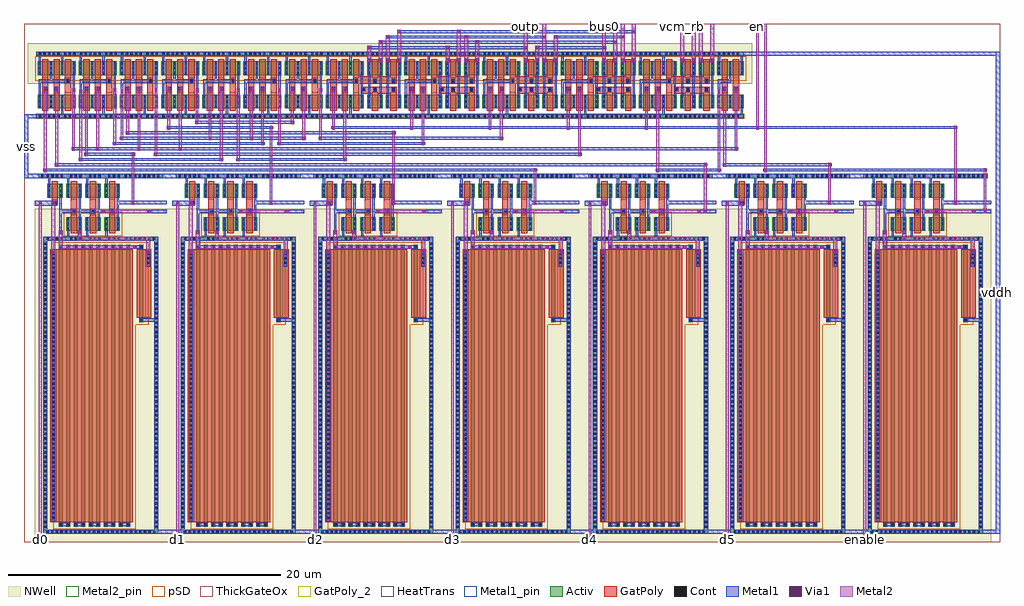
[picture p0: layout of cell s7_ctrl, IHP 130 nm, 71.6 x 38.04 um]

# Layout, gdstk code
from math import pi, radians
import gdstk
lib = gdstk.Library(unit=1e-6, precision=1e-09)
def R(c, l, rs):  # rectangles x0, y0, x1, y1
    for r in rs: c.add(gdstk.rectangle(r[:2], r[2:], *l))
def A(c, l, x, y, w, h, nx, ny, dx, dy):  # array of equal rectangles
    R(c, l, [(x+i*dx, y+j*dy, x+i*dx+w, y+j*dy+h) for i in range(nx) for j in range(ny)])
Activ = (1, 0)
GatPoly = (5, 0)
GatPoly_2 = (5, 2)
Cont = (6, 0)
Metal1 = (8, 0)
Metal1_pin = (8, 2)
Metal2 = (10, 0)
Metal2_pin = (10, 2)
pSD = (14, 0)
Via1 = (19, 0)
NWell = (31, 0)
ThickGateOx = (44, 0)
HeatTrans = (51, 0)

efs_pmoshv_w1_l0p45 = lib.new_cell('efs_pmosHV_w1_l0p45')
R(efs_pmoshv_w1_l0p45, Activ, [(0,0,0.3,0.3), (0,0,1.13,1), (0.83,0,1.13,0.3)])
R(efs_pmoshv_w1_l0p45, GatPoly, [(0.34,-0.18,0.79,1.18)])
R(efs_pmoshv_w1_l0p45, GatPoly_2, [(0.34,-0.18,0.79,1.18)])
A(efs_pmoshv_w1_l0p45, Cont, 0.07, 0.07, 0.16, 0.16, 1, 3, 0, 0.35)
A(efs_pmoshv_w1_l0p45, Cont, 0.9, 0.07, 0.16, 0.16, 1, 3, 0, 0.35)
R(efs_pmoshv_w1_l0p45, Metal1, [(0.07,0,0.23,1), (0.9,0,1.06,1)])
R(efs_pmoshv_w1_l0p45, Metal1_pin, [(0.07,0,0.23,1), (0.9,0,1.06,1)])
R(efs_pmoshv_w1_l0p45, pSD, [(-0.18,-0.4,1.31,1.4)])
R(efs_pmoshv_w1_l0p45, NWell, [(-0.62,-0.62,1.75,1.62)])
R(efs_pmoshv_w1_l0p45, ThickGateOx, [(-0.62,-0.62,1.75,1.62)])
R(efs_pmoshv_w1_l0p45, HeatTrans, [(0.34,-0.18,0.79,1.18)])
efs_pmoshv_w1_l0p45.add(gdstk.Label('pmosHV', (0.565,0.5), layer=63, texttype=0))
efs_pmoshv_w1_l0p45.add(gdstk.Label('pmos', (0.565,0.5), layer=51, texttype=0))

efs_nmoshv_w1_l0p45 = lib.new_cell('efs_nmosHV_w1_l0p45')
R(efs_nmoshv_w1_l0p45, Activ, [(0,0,0.3,0.3), (0,0,1.13,1), (0.83,0,1.13,0.3)])
R(efs_nmoshv_w1_l0p45, GatPoly, [(0.34,-0.18,0.79,1.18)])
R(efs_nmoshv_w1_l0p45, GatPoly_2, [(0.34,-0.18,0.79,1.18)])
A(efs_nmoshv_w1_l0p45, Cont, 0.07, 0.07, 0.16, 0.16, 1, 3, 0, 0.35)
A(efs_nmoshv_w1_l0p45, Cont, 0.9, 0.07, 0.16, 0.16, 1, 3, 0, 0.35)
R(efs_nmoshv_w1_l0p45, Metal1, [(0.07,0,0.23,1), (0.9,0,1.06,1)])
R(efs_nmoshv_w1_l0p45, Metal1_pin, [(0.07,0,0.23,1), (0.9,0,1.06,1)])
R(efs_nmoshv_w1_l0p45, ThickGateOx, [(-0.27,-0.52,1.4,1.52)])
R(efs_nmoshv_w1_l0p45, HeatTrans, [(0.34,-0.18,0.79,1.18)])
efs_nmoshv_w1_l0p45.add(gdstk.Label('nmosHV', (0.565,0.5), layer=63, texttype=0))
efs_nmoshv_w1_l0p45.add(gdstk.Label('nmosHV', (0.565,0.5), layer=51, texttype=0))

efs_inv_hv = lib.new_cell('efs_inv_hv')
R(efs_inv_hv, Activ, [(0,0,1.255,0.3), (0,4.6,1.255,4.9)])
R(efs_inv_hv, GatPoly, [(0.34,1.91,0.79,2.99)])
A(efs_inv_hv, Cont, 0.28, 0.07, 0.16, 0.16, 3, 2, 0.34, 4.6)
R(efs_inv_hv, Cont, [(0.485,2.66,0.645,2.82)])
R(efs_inv_hv, Metal1, [(0,0,1.255,0.3), (0.07,0.3,0.23,0.73), (0.9,1.73,1.06,3.17), (0.435,2.56,0.695,2.91), (0.07,4.17,0.23,4.6), (0,4.6,1.255,4.9)])
R(efs_inv_hv, pSD, [(-0.03,-0.03,1.285,0.33)])
R(efs_inv_hv, NWell, [(-0.62,2.55,1.875,5.52)])
R(efs_inv_hv, ThickGateOx, [(-0.27,-0.27,1.525,5.17)])
efs_inv_hv.add(gdstk.Reference(efs_pmoshv_w1_l0p45, (0,3.17)))
efs_inv_hv.add(gdstk.Reference(efs_nmoshv_w1_l0p45, (0,0.73)))
efs_inv_hv.add(gdstk.Label('P', (0.565,3.67), layer=63, texttype=0))
efs_inv_hv.add(gdstk.Label('N', (0.565,1.23), layer=63, texttype=0))

efs_xn1 = lib.new_cell('efs_xn1')
R(efs_xn1, Activ, [(-0.125,0,1.235,0.3), (-0.125,4.6,1.235,4.9)])
R(efs_xn1, GatPoly, [(0.34,1.91,0.79,2.3)])
A(efs_xn1, Cont, -0.035, 0.07, 0.16, 0.16, 4, 2, 0.34, 4.6)
R(efs_xn1, Cont, [(0.485,2.04,0.645,2.2)])
R(efs_xn1, Metal1, [(-0.125,0,1.235,0.3), (0.07,0.3,0.23,0.73), (0.9,1.73,1.06,4.42), (0.435,1.97,0.695,2.32), (0.875,4.13,1.085,4.42), (-0.125,4.6,1.235,4.9)])
R(efs_xn1, pSD, [(-0.155,-0.03,1.265,0.33)])
R(efs_xn1, Via1, [(0.885,4.18,1.075,4.37)])
R(efs_xn1, NWell, [(-0.745,2.55,1.855,5.52)])
R(efs_xn1, ThickGateOx, [(-0.395,-0.27,1.505,5.17)])
efs_xn1.add(gdstk.Reference(efs_nmoshv_w1_l0p45, (0,0.73)))
efs_xn1.add(gdstk.Label('XN1', (0.565,1.23), layer=63, texttype=0))

efs_pmoshv_w0p3_l20 = lib.new_cell('efs_pmosHV_w0p3_l20')
R(efs_pmoshv_w0p3_l20, Activ, [(0,0,0.3,0.3), (0,0,20.68,0.3), (20.38,0,20.68,0.3)])
R(efs_pmoshv_w0p3_l20, GatPoly, [(0.34,-0.18,20.34,0.48)])
R(efs_pmoshv_w0p3_l20, GatPoly_2, [(0.34,-0.18,20.34,0.48)])
R(efs_pmoshv_w0p3_l20, Cont, [(0.07,0.07,0.23,0.23), (20.45,0.07,20.61,0.23)])
R(efs_pmoshv_w0p3_l20, Metal1, [(0.07,0,0.23,0.3), (20.45,0,20.61,0.3)])
R(efs_pmoshv_w0p3_l20, Metal1_pin, [(0.07,0,0.23,0.3), (20.45,0,20.61,0.3)])
R(efs_pmoshv_w0p3_l20, pSD, [(-0.18,-0.4,20.86,0.7)])
R(efs_pmoshv_w0p3_l20, NWell, [(-0.62,-0.62,21.3,0.92)])
R(efs_pmoshv_w0p3_l20, ThickGateOx, [(-0.62,-0.62,21.3,0.92)])
R(efs_pmoshv_w0p3_l20, HeatTrans, [(0.34,-0.18,20.34,0.48)])
efs_pmoshv_w0p3_l20.add(gdstk.Label('pmosHV', (10.34,0.15), layer=63, texttype=0))
efs_pmoshv_w0p3_l20.add(gdstk.Label('pmos', (10.34,0.15), layer=51, texttype=0))

efs_pmoshv_w0p3_l5 = lib.new_cell('efs_pmosHV_w0p3_l5')
R(efs_pmoshv_w0p3_l5, Activ, [(0,0,0.3,0.3), (0,0,5.68,0.3), (5.38,0,5.68,0.3)])
R(efs_pmoshv_w0p3_l5, GatPoly, [(0.34,-0.18,5.34,0.48)])
R(efs_pmoshv_w0p3_l5, GatPoly_2, [(0.34,-0.18,5.34,0.48)])
R(efs_pmoshv_w0p3_l5, Cont, [(0.07,0.07,0.23,0.23), (5.45,0.07,5.61,0.23)])
R(efs_pmoshv_w0p3_l5, Metal1, [(0.07,0,0.23,0.3), (5.45,0,5.61,0.3)])
R(efs_pmoshv_w0p3_l5, Metal1_pin, [(0.07,0,0.23,0.3), (5.45,0,5.61,0.3)])
R(efs_pmoshv_w0p3_l5, pSD, [(-0.18,-0.4,5.86,0.7)])
R(efs_pmoshv_w0p3_l5, NWell, [(-0.62,-0.62,6.3,0.92)])
R(efs_pmoshv_w0p3_l5, ThickGateOx, [(-0.62,-0.62,6.3,0.92)])
R(efs_pmoshv_w0p3_l5, HeatTrans, [(0.34,-0.18,5.34,0.48)])
efs_pmoshv_w0p3_l5.add(gdstk.Label('pmosHV', (2.84,0.15), layer=63, texttype=0))
efs_pmoshv_w0p3_l5.add(gdstk.Label('pmos', (2.84,0.15), layer=51, texttype=0))

efs_ls_core = lib.new_cell('efs_ls_core')
R(efs_ls_core, Activ, [(0.3,0,9.38,0.3), (0.62,4.6,9.06,4.9), (0.62,4.6,0.92,26.4), (8.76,4.6,9.06,26.4), (0.62,26.1,9.06,26.4)])
R(efs_ls_core, GatPoly, [(1.14,5.54,1.74,25.54), (7.94,5.54,8.54,10.54)])
A(efs_ls_core, Cont, 6.595, 0.07, 0.16, 0.16, 8, 1, 0.34, 0)
A(efs_ls_core, Cont, 6.61, 4.67, 0.16, 0.16, 7, 1, 0.34, 0)
A(efs_ls_core, Cont, 0.69, 5.05, 0.16, 0.16, 1, 62, 0, 0.34)
A(efs_ls_core, Cont, 8.83, 5.05, 0.16, 0.16, 1, 62, 0, 0.34)
A(efs_ls_core, Cont, 8.24, 5.76, 0.16, 0.16, 1, 3, 0, 0.34)
A(efs_ls_core, Cont, 1.28, 5.77, 0.16, 0.16, 1, 58, 0, 0.34)
A(efs_ls_core, Cont, 0.85, 26.17, 0.16, 0.16, 24, 1, 0.34, 0)
R(efs_ls_core, Cont, [(0.46,0.07,0.62,0.23)])
A(efs_ls_core, Metal1, 1.8, 2.61, 1.065, 0.26, 3, 1, 1.4, 0)
A(efs_ls_core, Metal1, 2.29, 5.22, 0.85, 0.26, 4, 1, 1.1, 0)
A(efs_ls_core, Metal1, 1.74, 25.6, 0.85, 0.26, 5, 1, 1.1, 0)
R(efs_ls_core, Metal1, [(0.3,0,9.38,0.3), (0,1.97,1.465,2.32), (6,1.97,9.68,2.23), (8.255,2.61,9.68,2.87), (3.175,4.13,3.385,4.42), (0.62,4.6,9.06,4.9), (0.62,4.6,0.92,26.4), (8.76,4.6,9.06,26.4), (1.74,4.9,2.04,5.48), (6.69,5.22,7.94,5.48), (1.23,5.56,1.49,25.52), (8.19,5.56,8.45,6.8), (7.64,10.6,9.06,10.86), (0.62,26.1,9.06,26.4)])
R(efs_ls_core, Metal2, [(1.215,1.97,1.505,5.87), (4.905,2.61,8.545,2.87), (1.735,4.13,2.025,5.48), (3.135,4.13,3.425,4.88), (3.135,4.62,8.465,4.88), (8.175,4.62,8.465,5.87), (1.735,5.22,7.46,5.48)])
R(efs_ls_core, pSD, [(0.27,-0.03,9.41,0.33)])
R(efs_ls_core, Via1, [(1.265,2.05,1.455,2.24), (4.955,2.645,5.145,2.835), (8.305,2.645,8.495,2.835), (3.185,4.18,3.375,4.37), (7.22,5.255,7.41,5.445), (1.265,5.625,1.455,5.815), (8.225,5.625,8.415,5.815)])
R(efs_ls_core, NWell, [(0,2.55,9.68,27.02)])
R(efs_ls_core, ThickGateOx, [(0,-0.27,9.68,27.02)])
efs_ls_core.add(gdstk.Reference(efs_inv_hv, (2.3,0)))
efs_ls_core.add(gdstk.Reference(efs_inv_hv, (3.7,0)))
efs_ls_core.add(gdstk.Reference(efs_inv_hv, (5.1,0)))
efs_ls_core.add(gdstk.Reference(efs_xn1, (0.9,0)))
efs_ls_core.add(gdstk.Reference(efs_pmoshv_w0p3_l20, (2.04,5.2), rotation=pi/2))
efs_ls_core.add(gdstk.Reference(efs_pmoshv_w0p3_l20, (2.59,5.2), rotation=pi/2))
efs_ls_core.add(gdstk.Reference(efs_pmoshv_w0p3_l20, (3.14,5.2), rotation=pi/2))
efs_ls_core.add(gdstk.Reference(efs_pmoshv_w0p3_l20, (3.69,5.2), rotation=pi/2))
efs_ls_core.add(gdstk.Reference(efs_pmoshv_w0p3_l20, (4.24,5.2), rotation=pi/2))
efs_ls_core.add(gdstk.Reference(efs_pmoshv_w0p3_l20, (4.79,5.2), rotation=pi/2))
efs_ls_core.add(gdstk.Reference(efs_pmoshv_w0p3_l20, (5.34,5.2), rotation=pi/2))
efs_ls_core.add(gdstk.Reference(efs_pmoshv_w0p3_l20, (5.89,5.2), rotation=pi/2))
efs_ls_core.add(gdstk.Reference(efs_pmoshv_w0p3_l20, (6.44,5.2), rotation=pi/2))
efs_ls_core.add(gdstk.Reference(efs_pmoshv_w0p3_l20, (6.99,5.2), rotation=pi/2))
efs_ls_core.add(gdstk.Reference(efs_pmoshv_w0p3_l5, (7.94,5.2), rotation=pi/2))
efs_ls_core.add(gdstk.Label('PL10', (1.89,15.54), layer=63, texttype=0))
efs_ls_core.add(gdstk.Label('PL9', (2.44,15.54), layer=63, texttype=0))
efs_ls_core.add(gdstk.Label('PL8', (2.99,15.54), layer=63, texttype=0))
efs_ls_core.add(gdstk.Label('PL7', (3.54,15.54), layer=63, texttype=0))
efs_ls_core.add(gdstk.Label('PL6', (4.09,15.54), layer=63, texttype=0))
efs_ls_core.add(gdstk.Label('PL5', (4.64,15.54), layer=63, texttype=0))
efs_ls_core.add(gdstk.Label('PL4', (5.19,15.54), layer=63, texttype=0))
efs_ls_core.add(gdstk.Label('PL3', (5.74,15.54), layer=63, texttype=0))
efs_ls_core.add(gdstk.Label('PL2', (6.29,15.54), layer=63, texttype=0))
efs_ls_core.add(gdstk.Label('PL1', (6.84,15.54), layer=63, texttype=0))
efs_ls_core.add(gdstk.Label('PF', (7.79,8.04), layer=63, texttype=0))

bdp_pmoshv_w2_l0p45_ng2 = lib.new_cell('bdp_pmosHV_w2_l0p45_ng2')
A(bdp_pmoshv_w2_l0p45_ng2, Activ, 0, 0, 0.3, 0.3, 3, 1, 0.83, 0)
R(bdp_pmoshv_w2_l0p45_ng2, Activ, [(0,0,1.96,1)])
R(bdp_pmoshv_w2_l0p45_ng2, GatPoly, [(0.34,-0.18,0.79,1.18), (1.17,-0.18,1.62,1.18)])
R(bdp_pmoshv_w2_l0p45_ng2, GatPoly_2, [(0.34,-0.18,0.79,1.18)])
A(bdp_pmoshv_w2_l0p45_ng2, Cont, 0.07, 0.07, 0.16, 0.16, 3, 3, 0.83, 0.35)
A(bdp_pmoshv_w2_l0p45_ng2, Metal1, 0.07, 0, 0.16, 1, 3, 1, 0.83, 0)
R(bdp_pmoshv_w2_l0p45_ng2, Metal1_pin, [(0.07,0,0.23,1), (0.9,0,1.06,1)])
R(bdp_pmoshv_w2_l0p45_ng2, pSD, [(-0.18,-0.4,2.14,1.4)])
R(bdp_pmoshv_w2_l0p45_ng2, NWell, [(-0.62,-0.62,2.58,1.62)])
R(bdp_pmoshv_w2_l0p45_ng2, ThickGateOx, [(-0.62,-0.62,2.58,1.62)])
R(bdp_pmoshv_w2_l0p45_ng2, HeatTrans, [(0.34,-0.18,0.79,1.18), (1.17,-0.18,1.62,1.18)])
bdp_pmoshv_w2_l0p45_ng2.add(gdstk.Label('pmosHV', (0.565,0.5), layer=63, texttype=0))
bdp_pmoshv_w2_l0p45_ng2.add(gdstk.Label('pmos', (0.565,0.5), layer=51, texttype=0))
bdp_pmoshv_w2_l0p45_ng2.add(gdstk.Label('pmos', (1.395,0.5), layer=51, texttype=0))

bdp_nmoshv_w2_l0p45_ng2 = lib.new_cell('bdp_nmosHV_w2_l0p45_ng2')
A(bdp_nmoshv_w2_l0p45_ng2, Activ, 0, 0, 0.3, 0.3, 3, 1, 0.83, 0)
R(bdp_nmoshv_w2_l0p45_ng2, Activ, [(0,0,1.96,1)])
R(bdp_nmoshv_w2_l0p45_ng2, GatPoly, [(0.34,-0.18,0.79,1.18), (1.17,-0.18,1.62,1.18)])
R(bdp_nmoshv_w2_l0p45_ng2, GatPoly_2, [(0.34,-0.18,0.79,1.18)])
A(bdp_nmoshv_w2_l0p45_ng2, Cont, 0.07, 0.07, 0.16, 0.16, 3, 3, 0.83, 0.35)
A(bdp_nmoshv_w2_l0p45_ng2, Metal1, 0.07, 0, 0.16, 1, 3, 1, 0.83, 0)
R(bdp_nmoshv_w2_l0p45_ng2, Metal1_pin, [(0.07,0,0.23,1), (0.9,0,1.06,1)])
R(bdp_nmoshv_w2_l0p45_ng2, ThickGateOx, [(-0.27,-0.52,2.23,1.52)])
R(bdp_nmoshv_w2_l0p45_ng2, HeatTrans, [(0.34,-0.18,0.79,1.18), (1.17,-0.18,1.62,1.18)])
bdp_nmoshv_w2_l0p45_ng2.add(gdstk.Label('nmosHV', (0.565,0.5), layer=63, texttype=0))
bdp_nmoshv_w2_l0p45_ng2.add(gdstk.Label('nmosHV', (0.565,0.5), layer=51, texttype=0))
bdp_nmoshv_w2_l0p45_ng2.add(gdstk.Label('nmosHV', (1.395,0.5), layer=51, texttype=0))

bdp_nand2_hv = lib.new_cell('bdp_nand2_hv')
R(bdp_nand2_hv, Activ, [(-0.105,0,1.96,0.3), (-0.105,4.6,1.96,4.9)])
R(bdp_nand2_hv, GatPoly, [(0.34,1.91,0.79,2.99), (1.17,1.91,1.62,2.99)])
A(bdp_nand2_hv, Cont, 0.09, 0.07, 0.16, 0.16, 5, 2, 0.34, 4.6)
R(bdp_nand2_hv, Cont, [(0.485,2.04,0.645,2.2), (1.315,2.04,1.475,2.2)])
R(bdp_nand2_hv, Metal1, [(-0.105,0,1.96,0.3), (1.73,0.3,1.89,0.73), (0.07,1.73,0.23,2.87), (0.435,1.97,0.695,2.32), (1.265,1.97,1.525,2.32), (0.07,2.61,1.06,2.87), (0.9,2.61,1.06,3.17), (0.07,4.17,0.23,4.6), (1.73,4.17,1.89,4.6), (-0.105,4.6,1.96,4.9)])
R(bdp_nand2_hv, pSD, [(-0.135,-0.03,1.99,0.33)])
R(bdp_nand2_hv, NWell, [(-0.725,2.55,2.58,5.52)])
R(bdp_nand2_hv, ThickGateOx, [(-0.375,-0.27,2.23,5.17)])
bdp_nand2_hv.add(gdstk.Reference(bdp_pmoshv_w2_l0p45_ng2, (0,3.17)))
bdp_nand2_hv.add(gdstk.Reference(bdp_nmoshv_w2_l0p45_ng2, (0,0.73)))
bdp_nand2_hv.add(gdstk.Label('PA PB', (0.98,3.67), layer=63, texttype=0))
bdp_nand2_hv.add(gdstk.Label('NA NB', (0.98,1.23), layer=63, texttype=0))

bdp_pmoshv_w1_l0p45 = lib.new_cell('bdp_pmosHV_w1_l0p45')
R(bdp_pmoshv_w1_l0p45, Activ, [(0,0,0.3,0.3), (0,0,1.13,1), (0.83,0,1.13,0.3)])
R(bdp_pmoshv_w1_l0p45, GatPoly, [(0.34,-0.18,0.79,1.18)])
R(bdp_pmoshv_w1_l0p45, GatPoly_2, [(0.34,-0.18,0.79,1.18)])
A(bdp_pmoshv_w1_l0p45, Cont, 0.07, 0.07, 0.16, 0.16, 1, 3, 0, 0.35)
A(bdp_pmoshv_w1_l0p45, Cont, 0.9, 0.07, 0.16, 0.16, 1, 3, 0, 0.35)
R(bdp_pmoshv_w1_l0p45, Metal1, [(0.07,0,0.23,1), (0.9,0,1.06,1)])
R(bdp_pmoshv_w1_l0p45, Metal1_pin, [(0.07,0,0.23,1), (0.9,0,1.06,1)])
R(bdp_pmoshv_w1_l0p45, pSD, [(-0.18,-0.4,1.31,1.4)])
R(bdp_pmoshv_w1_l0p45, NWell, [(-0.62,-0.62,1.75,1.62)])
R(bdp_pmoshv_w1_l0p45, ThickGateOx, [(-0.62,-0.62,1.75,1.62)])
R(bdp_pmoshv_w1_l0p45, HeatTrans, [(0.34,-0.18,0.79,1.18)])
bdp_pmoshv_w1_l0p45.add(gdstk.Label('pmosHV', (0.565,0.5), layer=63, texttype=0))
bdp_pmoshv_w1_l0p45.add(gdstk.Label('pmos', (0.565,0.5), layer=51, texttype=0))

bdp_nmoshv_w1_l0p45 = lib.new_cell('bdp_nmosHV_w1_l0p45')
R(bdp_nmoshv_w1_l0p45, Activ, [(0,0,0.3,0.3), (0,0,1.13,1), (0.83,0,1.13,0.3)])
R(bdp_nmoshv_w1_l0p45, GatPoly, [(0.34,-0.18,0.79,1.18)])
R(bdp_nmoshv_w1_l0p45, GatPoly_2, [(0.34,-0.18,0.79,1.18)])
A(bdp_nmoshv_w1_l0p45, Cont, 0.07, 0.07, 0.16, 0.16, 1, 3, 0, 0.35)
A(bdp_nmoshv_w1_l0p45, Cont, 0.9, 0.07, 0.16, 0.16, 1, 3, 0, 0.35)
R(bdp_nmoshv_w1_l0p45, Metal1, [(0.07,0,0.23,1), (0.9,0,1.06,1)])
R(bdp_nmoshv_w1_l0p45, Metal1_pin, [(0.07,0,0.23,1), (0.9,0,1.06,1)])
R(bdp_nmoshv_w1_l0p45, ThickGateOx, [(-0.27,-0.52,1.4,1.52)])
R(bdp_nmoshv_w1_l0p45, HeatTrans, [(0.34,-0.18,0.79,1.18)])
bdp_nmoshv_w1_l0p45.add(gdstk.Label('nmosHV', (0.565,0.5), layer=63, texttype=0))
bdp_nmoshv_w1_l0p45.add(gdstk.Label('nmosHV', (0.565,0.5), layer=51, texttype=0))

bdp_inv_hv = lib.new_cell('bdp_inv_hv')
R(bdp_inv_hv, Activ, [(0,0,1.255,0.3), (0,4.6,1.255,4.9)])
R(bdp_inv_hv, GatPoly, [(0.34,1.91,0.79,2.99)])
A(bdp_inv_hv, Cont, 0.28, 0.07, 0.16, 0.16, 3, 2, 0.34, 4.6)
R(bdp_inv_hv, Cont, [(0.485,2.66,0.645,2.82)])
R(bdp_inv_hv, Metal1, [(0,0,1.255,0.3), (0.07,0.3,0.23,0.73), (0.9,1.73,1.06,3.17), (0.435,2.56,0.695,2.91), (0.07,4.17,0.23,4.6), (0,4.6,1.255,4.9)])
R(bdp_inv_hv, pSD, [(-0.03,-0.03,1.285,0.33)])
R(bdp_inv_hv, NWell, [(-0.62,2.55,1.875,5.52)])
R(bdp_inv_hv, ThickGateOx, [(-0.27,-0.27,1.525,5.17)])
bdp_inv_hv.add(gdstk.Reference(bdp_pmoshv_w1_l0p45, (0,3.17)))
bdp_inv_hv.add(gdstk.Reference(bdp_nmoshv_w1_l0p45, (0,0.73)))
bdp_inv_hv.add(gdstk.Label('P', (0.565,3.67), layer=63, texttype=0))
bdp_inv_hv.add(gdstk.Label('N', (0.565,1.23), layer=63, texttype=0))

bdp_tg_hv = lib.new_cell('bdp_tg_hv')
R(bdp_tg_hv, Activ, [(-0.125,0,1.235,0.3), (-0.125,4.6,1.235,4.9)])
R(bdp_tg_hv, GatPoly, [(0.34,1.91,0.79,2.3), (0.34,2.55,0.79,2.99)])
A(bdp_tg_hv, Cont, -0.035, 0.07, 0.16, 0.16, 4, 2, 0.34, 4.6)
R(bdp_tg_hv, Cont, [(0.485,2.04,0.645,2.2), (0.485,2.66,0.645,2.82)])
R(bdp_tg_hv, Metal1, [(-0.125,0,1.235,0.3), (0.07,1.73,0.23,3.17), (0.9,1.73,1.06,3.17), (0.435,1.94,0.695,2.29), (0.435,2.56,0.695,2.91), (-0.125,4.6,1.235,4.9)])
R(bdp_tg_hv, pSD, [(-0.155,-0.03,1.265,0.33)])
R(bdp_tg_hv, NWell, [(-0.745,2.55,1.855,5.52)])
R(bdp_tg_hv, ThickGateOx, [(-0.395,-0.27,1.505,5.17)])
bdp_tg_hv.add(gdstk.Reference(bdp_pmoshv_w1_l0p45, (0,3.17)))
bdp_tg_hv.add(gdstk.Reference(bdp_nmoshv_w1_l0p45, (0,0.73)))
bdp_tg_hv.add(gdstk.Label('TGP', (0.565,3.67), layer=63, texttype=0))
bdp_tg_hv.add(gdstk.Label('TGN', (0.565,1.23), layer=63, texttype=0))

s7_ctrl = lib.new_cell('s7_ctrl')
A(s7_ctrl, GatPoly, 24.77, 32.9, 2.56, 0.5, 5, 1, 5.74, 0)
A(s7_ctrl, GatPoly, 24.14, 33.65, 3.19, 0.55, 5, 1, 5.74, 0)
A(s7_ctrl, Cont, 24.84, 33.14, 0.16, 0.16, 5, 1, 5.74, 0)
A(s7_ctrl, Metal1, 9.86, 0.62, 1.64, 0.3, 6, 1, 10.08, 0)
A(s7_ctrl, Metal1, 10.18, 26.72, 1, 0.3, 6, 1, 10.08, 0)
A(s7_ctrl, Metal1, 3.535, 33, 0.21, 0.29, 7, 1, 3.02, 0)
A(s7_ctrl, Metal1, 24.7, 33.09, 0.35, 0.26, 5, 1, 5.74, 0)
A(s7_ctrl, Metal1, 2.06, 33.71, 1.035, 0.26, 8, 1, 3.02, 0)
A(s7_ctrl, Metal1, 28.94, 33.71, 1.035, 0.26, 4, 1, 5.74, 0)
R(s7_ctrl, Metal1, [(70.34,0.62,71.6,0.92), (71.3,0.62,71.6,36), (0,26.72,1.1,27.02), (0,26.72,0.3,31.4), (1.415,27.2,37.64,27.41), (46.345,27.2,51.14,27.41), (54.25,27.2,70.64,27.41), (2.245,27.59,50.13,27.8), (51.255,27.59,59.25,27.8), (4.02,27.98,14.625,28.19), (15.57,27.98,23.685,28.19), (4.435,28.37,8.15,28.58), (9.53,28.37,40.905,28.58), (3.49,28.76,52.385,28.97), (6.51,29.15,17.645,29.36), (18.59,29.15,29.425,29.36), (7.04,29.54,20.665,29.75), (21.61,29.54,35.165,29.75), (7.455,29.93,27.26,30.14), (10.475,30.32,18.28,30.53), (22.555,30.32,68.48,30.53), (12.55,30.71,19.835,30.92), (0,31.1,0.895,31.4), (4.065,32.9,4.275,33.19), (7.085,32.9,7.295,33.19), (50.885,32.9,51.095,33.19), (25.225,35.23,25.435,35.52), (26.055,35.23,26.265,35.52), (26.585,35.23,26.795,35.52), (27.415,35.23,27.625,35.52), (30.965,35.23,31.175,35.52), (31.795,35.23,32.005,35.52), (32.325,35.23,32.535,35.52), (33.155,35.23,33.365,35.52), (36.705,35.23,36.915,35.52), (37.535,35.23,37.745,35.52), (38.065,35.23,38.275,35.52), (38.895,35.23,39.105,35.52), (42.445,35.23,42.655,35.52), (43.275,35.23,43.485,35.52), (43.805,35.23,44.015,35.52), (44.635,35.23,44.845,35.52), (48.185,35.23,48.395,35.52), (49.015,35.23,49.225,35.52), (49.545,35.23,49.755,35.52), (50.375,35.23,50.585,35.52), (52.7,35.7,71.6,36), (25.18,36.18,36.96,36.39), (37.49,36.18,42.7,36.39), (26.01,36.57,43.53,36.78), (26.54,36.96,38.32,37.17), (38.85,36.96,44.06,37.17), (27.37,37.35,44.89,37.56)])
R(s7_ctrl, Metal1_pin, [(71.3,0.62,71.6,36), (0,26.72,0.3,31.4)])
A(s7_ctrl, Metal2, 1.095, 0, 0.2, 25.02, 7, 1, 10.08, 0)
A(s7_ctrl, Metal2, 5.315, 28.72, 0.2, 4.64, 3, 1, 3.02, 0)
A(s7_ctrl, Metal2, 22.605, 30.28, 0.2, 3.08, 5, 1, 5.74, 0)
R(s7_ctrl, Metal2, [(49.88,24.135,50.08,27.84), (70.39,24.135,70.59,27.45), (7.9,24.775,8.1,28.62), (18.03,24.775,18.23,30.57), (27.01,24.775,27.21,30.18), (37.39,24.775,37.59,27.45), (59,24.775,59.2,27.84), (68.23,24.775,68.43,30.57), (1.465,27.16,1.665,33.36), (46.395,27.16,46.595,33.36), (50.89,27.16,51.09,33.19), (54.3,27.16,54.5,38.04), (2.295,27.55,2.495,33.36), (51.305,27.55,51.505,33.36), (4.07,27.94,4.27,33.19), (14.375,27.94,14.575,33.36), (15.62,27.94,15.82,33.29), (23.435,27.94,23.635,33.36), (4.485,28.33,4.685,33.36), (9.58,28.33,9.78,33.29), (40.655,28.33,40.855,33.36), (3.54,28.72,3.74,33.29), (52.135,28.72,52.335,33.36), (6.56,29.11,6.76,33.29), (17.395,29.11,17.595,33.36), (18.64,29.11,18.84,33.29), (29.175,29.11,29.375,33.36), (7.09,29.5,7.29,33.19), (13.545,29.5,13.745,33.36), (16.565,29.5,16.765,33.36), (20.415,29.5,20.615,33.36), (21.66,29.5,21.86,33.29), (34.915,29.5,35.115,33.36), (7.505,29.89,7.705,33.36), (10.525,30.28,10.725,33.36), (53.7,30.28,53.9,38.04), (12.6,30.67,12.8,33.29), (19.585,30.67,19.785,33.36), (25.185,35.23,25.475,36.43), (26.015,35.23,26.305,36.82), (26.545,35.23,26.835,37.21), (27.375,35.23,27.665,37.6), (30.925,35.23,31.215,36.43), (31.755,35.23,32.045,37.6), (32.285,35.23,32.575,37.21), (33.115,35.23,33.405,36.82), (36.665,35.23,36.955,38.04), (37.495,35.23,37.785,36.43), (38.025,35.23,38.315,38.04), (38.855,35.23,39.145,37.21), (42.405,35.23,42.695,38.04), (43.235,35.23,43.525,38.04), (43.765,35.23,44.055,38.04), (44.595,35.23,44.885,38.04), (48.145,35.23,48.435,38.04), (48.975,35.23,49.265,38.04), (49.505,35.23,49.795,38.04), (50.335,35.23,50.625,38.04)])
A(s7_ctrl, Metal2_pin, 1.095, 0, 0.2, 0.4, 7, 1, 10.08, 0)
R(s7_ctrl, Metal2_pin, [(36.665,37.64,36.955,38.04), (38.025,37.64,38.315,38.04), (42.405,37.64,42.695,38.04), (43.235,37.64,43.525,38.04), (43.765,37.64,44.055,38.04), (44.595,37.64,44.885,38.04), (48.145,37.64,48.435,38.04), (48.975,37.64,49.265,38.04), (49.505,37.64,49.795,38.04), (50.335,37.64,50.625,38.04), (53.7,37.64,53.9,38.04), (54.3,37.64,54.5,38.04)])
A(s7_ctrl, Via1, 1.1, 24.78, 0.19, 0.19, 7, 1, 10.08, 0)
A(s7_ctrl, Via1, 5.32, 28.77, 0.19, 0.19, 3, 1, 3.02, 0)
A(s7_ctrl, Via1, 22.61, 30.33, 0.19, 0.19, 5, 1, 5.74, 0)
A(s7_ctrl, Via1, 3.545, 33.05, 0.19, 0.19, 7, 1, 3.02, 0)
A(s7_ctrl, Via1, 25.235, 36.19, 0.19, 0.19, 3, 1, 5.74, 0)
A(s7_ctrl, Via1, 26.595, 36.97, 0.19, 0.19, 3, 1, 5.74, 0)
R(s7_ctrl, Via1, [(49.885,24.185,50.075,24.375), (70.395,24.185,70.585,24.375), (7.905,24.825,8.095,25.015), (18.035,24.825,18.225,25.015), (27.015,24.825,27.205,25.015), (37.395,24.825,37.585,25.015), (59.005,24.825,59.195,25.015), (68.235,24.825,68.425,25.015), (1.47,27.21,1.66,27.4), (37.395,27.21,37.585,27.4), (46.4,27.21,46.59,27.4), (50.895,27.21,51.085,27.4), (54.305,27.21,54.495,27.4), (70.395,27.21,70.585,27.4), (2.3,27.6,2.49,27.79), (49.885,27.6,50.075,27.79), (51.31,27.6,51.5,27.79), (59.005,27.6,59.195,27.79), (4.075,27.99,4.265,28.18), (14.38,27.99,14.57,28.18), (15.625,27.99,15.815,28.18), (23.44,27.99,23.63,28.18), (4.49,28.38,4.68,28.57), (7.905,28.38,8.095,28.57), (9.585,28.38,9.775,28.57), (40.66,28.38,40.85,28.57), (3.545,28.77,3.735,28.96), (52.14,28.77,52.33,28.96), (6.565,29.16,6.755,29.35), (17.4,29.16,17.59,29.35), (18.645,29.16,18.835,29.35), (29.18,29.16,29.37,29.35), (7.095,29.55,7.285,29.74), (13.55,29.55,13.74,29.74), (16.57,29.55,16.76,29.74), (20.42,29.55,20.61,29.74), (21.665,29.55,21.855,29.74), (34.92,29.55,35.11,29.74), (7.51,29.94,7.7,30.13), (27.015,29.94,27.205,30.13), (10.53,30.33,10.72,30.52), (18.035,30.33,18.225,30.52), (53.705,30.33,53.895,30.52), (68.235,30.33,68.425,30.52), (12.605,30.72,12.795,30.91), (19.59,30.72,19.78,30.91), (4.075,32.95,4.265,33.14), (7.095,32.95,7.285,33.14), (50.895,32.95,51.085,33.14), (1.47,33.12,1.66,33.31), (2.3,33.12,2.49,33.31), (4.49,33.12,4.68,33.31), (5.32,33.12,5.51,33.31), (7.51,33.12,7.7,33.31), (8.34,33.12,8.53,33.31), (10.53,33.12,10.72,33.31), (11.36,33.12,11.55,33.31), (13.55,33.12,13.74,33.31), (14.38,33.12,14.57,33.31), (16.57,33.12,16.76,33.31), (17.4,33.12,17.59,33.31), (19.59,33.12,19.78,33.31), (20.42,33.12,20.61,33.31), (22.61,33.12,22.8,33.31), (23.44,33.12,23.63,33.31), (28.35,33.12,28.54,33.31), (29.18,33.12,29.37,33.31), (34.09,33.12,34.28,33.31), (34.92,33.12,35.11,33.31), (39.83,33.12,40.02,33.31), (40.66,33.12,40.85,33.31), (45.57,33.12,45.76,33.31), (46.4,33.12,46.59,33.31), (51.31,33.12,51.5,33.31), (52.14,33.12,52.33,33.31), (25.235,35.28,25.425,35.47), (26.065,35.28,26.255,35.47), (26.595,35.28,26.785,35.47), (27.425,35.28,27.615,35.47), (30.975,35.28,31.165,35.47), (31.805,35.28,31.995,35.47), (32.335,35.28,32.525,35.47), (33.165,35.28,33.355,35.47), (36.715,35.28,36.905,35.47), (37.545,35.28,37.735,35.47), (38.075,35.28,38.265,35.47), (38.905,35.28,39.095,35.47), (42.455,35.28,42.645,35.47), (43.285,35.28,43.475,35.47), (43.815,35.28,44.005,35.47), (44.645,35.28,44.835,35.47), (48.195,35.28,48.385,35.47), (49.025,35.28,49.215,35.47), (49.555,35.28,49.745,35.47), (50.385,35.28,50.575,35.47), (37.545,36.19,37.735,36.38), (42.455,36.19,42.645,36.38), (26.065,36.58,26.255,36.77), (33.165,36.58,33.355,36.77), (43.285,36.58,43.475,36.77), (38.905,36.97,39.095,37.16), (43.815,36.97,44.005,37.16), (27.425,37.36,27.615,37.55), (31.805,37.36,31.995,37.55), (44.645,37.36,44.835,37.55)])
A(s7_ctrl, NWell, 10.48, 0, 0.4, 24.47, 6, 1, 10.08, 0)
R(s7_ctrl, ThickGateOx, [(0,0,71.6,38.04)])
s7_ctrl.add(gdstk.Reference(efs_ls_core, (0.8,27.02), x_reflection=True))
s7_ctrl.add(gdstk.Reference(efs_ls_core, (10.88,27.02), x_reflection=True))
s7_ctrl.add(gdstk.Reference(efs_ls_core, (20.96,27.02), x_reflection=True))
s7_ctrl.add(gdstk.Reference(efs_ls_core, (31.04,27.02), x_reflection=True))
s7_ctrl.add(gdstk.Reference(efs_ls_core, (41.12,27.02), x_reflection=True))
s7_ctrl.add(gdstk.Reference(efs_ls_core, (51.2,27.02), x_reflection=True))
s7_ctrl.add(gdstk.Reference(efs_ls_core, (61.28,27.02), x_reflection=True))
s7_ctrl.add(gdstk.Reference(bdp_nand2_hv, (1,31.1)))
s7_ctrl.add(gdstk.Reference(bdp_inv_hv, (2.66,31.1)))
s7_ctrl.add(gdstk.Reference(bdp_nand2_hv, (4.02,31.1)))
s7_ctrl.add(gdstk.Reference(bdp_inv_hv, (5.68,31.1)))
s7_ctrl.add(gdstk.Reference(bdp_nand2_hv, (7.04,31.1)))
s7_ctrl.add(gdstk.Reference(bdp_inv_hv, (8.7,31.1)))
s7_ctrl.add(gdstk.Reference(bdp_nand2_hv, (10.06,31.1)))
s7_ctrl.add(gdstk.Reference(bdp_inv_hv, (11.72,31.1)))
s7_ctrl.add(gdstk.Reference(bdp_nand2_hv, (13.08,31.1)))
s7_ctrl.add(gdstk.Reference(bdp_inv_hv, (14.74,31.1)))
s7_ctrl.add(gdstk.Reference(bdp_nand2_hv, (16.1,31.1)))
s7_ctrl.add(gdstk.Reference(bdp_inv_hv, (17.76,31.1)))
s7_ctrl.add(gdstk.Reference(bdp_nand2_hv, (19.12,31.1)))
s7_ctrl.add(gdstk.Reference(bdp_inv_hv, (20.78,31.1)))
s7_ctrl.add(gdstk.Reference(bdp_nand2_hv, (22.14,31.1)))
s7_ctrl.add(gdstk.Reference(bdp_inv_hv, (23.8,31.1)))
s7_ctrl.add(gdstk.Reference(bdp_tg_hv, (25.18,31.1)))
s7_ctrl.add(gdstk.Reference(bdp_tg_hv, (26.54,31.1)))
s7_ctrl.add(gdstk.Reference(bdp_nand2_hv, (27.88,31.1)))
s7_ctrl.add(gdstk.Reference(bdp_inv_hv, (29.54,31.1)))
s7_ctrl.add(gdstk.Reference(bdp_tg_hv, (30.92,31.1)))
s7_ctrl.add(gdstk.Reference(bdp_tg_hv, (32.28,31.1)))
s7_ctrl.add(gdstk.Reference(bdp_nand2_hv, (33.62,31.1)))
s7_ctrl.add(gdstk.Reference(bdp_inv_hv, (35.28,31.1)))
s7_ctrl.add(gdstk.Reference(bdp_tg_hv, (36.66,31.1)))
s7_ctrl.add(gdstk.Reference(bdp_tg_hv, (38.02,31.1)))
s7_ctrl.add(gdstk.Reference(bdp_nand2_hv, (39.36,31.1)))
s7_ctrl.add(gdstk.Reference(bdp_inv_hv, (41.02,31.1)))
s7_ctrl.add(gdstk.Reference(bdp_tg_hv, (42.4,31.1)))
s7_ctrl.add(gdstk.Reference(bdp_tg_hv, (43.76,31.1)))
s7_ctrl.add(gdstk.Reference(bdp_nand2_hv, (45.1,31.1)))
s7_ctrl.add(gdstk.Reference(bdp_inv_hv, (46.76,31.1)))
s7_ctrl.add(gdstk.Reference(bdp_tg_hv, (48.14,31.1)))
s7_ctrl.add(gdstk.Reference(bdp_tg_hv, (49.5,31.1)))
s7_ctrl.add(gdstk.Reference(bdp_nand2_hv, (50.84,31.1)))
s7_ctrl.add(gdstk.Label('vss', (0.15,29.06), layer=8, texttype=25))
s7_ctrl.add(gdstk.Label('vddh', (71.45,18.31), layer=8, texttype=25))
s7_ctrl.add(gdstk.Label('outp', (36.81,37.84), layer=10, texttype=25))
s7_ctrl.add(gdstk.Label('outn', (38.17,37.84), layer=10, texttype=25))
s7_ctrl.add(gdstk.Label('bus0', (42.55,37.84), layer=10, texttype=25))
s7_ctrl.add(gdstk.Label('vinp', (43.38,37.84), layer=10, texttype=25))
s7_ctrl.add(gdstk.Label('bus1', (43.91,37.84), layer=10, texttype=25))
s7_ctrl.add(gdstk.Label('vinn', (44.74,37.84), layer=10, texttype=25))
s7_ctrl.add(gdstk.Label('vcm_rb', (48.29,37.84), layer=10, texttype=25))
s7_ctrl.add(gdstk.Label('vcm_pad', (49.12,37.84), layer=10, texttype=25))
s7_ctrl.add(gdstk.Label('vref_rb', (49.65,37.84), layer=10, texttype=25))
s7_ctrl.add(gdstk.Label('vref_pad', (50.48,37.84), layer=10, texttype=25))
s7_ctrl.add(gdstk.Label('en', (53.8,37.84), layer=10, texttype=25))
s7_ctrl.add(gdstk.Label('en_b', (54.4,37.84), layer=10, texttype=25))
s7_ctrl.add(gdstk.Label('d0', (1.195,0.2), layer=10, texttype=25))
s7_ctrl.add(gdstk.Label('d1', (11.275,0.2), layer=10, texttype=25))
s7_ctrl.add(gdstk.Label('d2', (21.355,0.2), layer=10, texttype=25))
s7_ctrl.add(gdstk.Label('d3', (31.435,0.2), layer=10, texttype=25))
s7_ctrl.add(gdstk.Label('d4', (41.515,0.2), layer=10, texttype=25))
s7_ctrl.add(gdstk.Label('d5', (51.595,0.2), layer=10, texttype=25))
s7_ctrl.add(gdstk.Label('enable', (61.675,0.2), layer=10, texttype=25))

lib.write_gds('s7_ctrl.gds')
